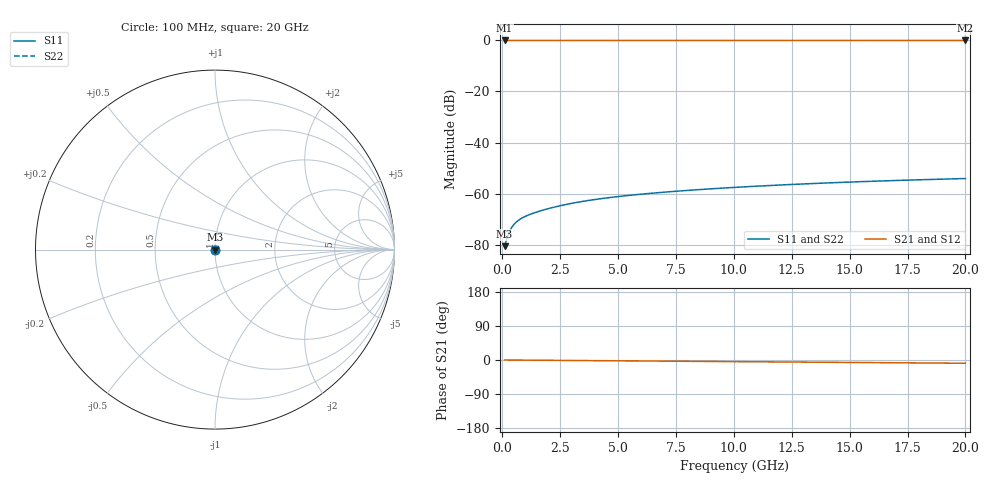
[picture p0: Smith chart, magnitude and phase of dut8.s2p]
! Touchstone file exported from HFSS 2026.1.0
!  File:  C:/ffzhzh/LocalFiles/Ansys_Project_Files/temp_test_TSV_8_1782978125_6388.aedt
!  Generated:  03:43:36 PM Jul  2, 2026
!  Design:  TSV
!  Project:  temp_test_TSV_8_1782978125_6388
! Variables:
!  h_bsmrdl = 2um
!  h_ox = 20um
!  h_rdl = 5um
!  h_sub = 83.91um
!  h_tmrdl = 5um
!  h_tsv = 83.91um
!  h_via = 3um
!  l_bsmrdl = 300um
!  l_sub = 428.38um
!  l_tmrdl = 200um
!  m_sub = 200um
!  pitch = 57.12um
!  r_tsv = 14.19um
!  s_tmrdl = 10um
!  w_bsmrdl = 18um
!  w_sub = 500um
!  w_tmrdl = 12um
!  x_tsv_center1 = 206um
!  x_tsv_center2 = 524um
!  x_tsv_center3 = 736um
!  x_tsv_center4 = 1054um
!  x_tsv_center5 = 1266um
!  x_tsv_center6 = 1584um
# GHz S MA R 50.000000
! Terminal data exported
! Port[1] = TSV1_1_T1
! Port[2] = TSV1_1_T2
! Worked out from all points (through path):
!   200 points, 100 MHz to 20 GHz, reference 50 ohm
!   highest |S21| = 0.00 dB at 100 MHz (marker M1); lowest = 0.0 dB at 20 GHz (marker M2)
!   group delay of S21, straight-line fit = 1.19 ps
!   lowest |S11| = -80.6 dB at 100 MHz (marker M3), VSWR 1.00, Z = 50 + j0.00506 ohm
!   |S11| at or under -10 dB: start of sweep to end of sweep
!   |S22| runs from -80.6 to -54.1 dB; largest |S21 - S12| = 3.2e-15
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0.1  9.329e-05 32.8  0.9999 -0.0  0.9999 -0.0  9.329e-05 32.8
! Gamma 0 0 0 0
! Port Impedance 50 0 50 0
0.2  0.0001342 45.8  0.9999 -0.1  0.9999 -0.1  0.0001342 45.8
0.3  0.0001766 49.6  0.9999 -0.1  0.9999 -0.1  0.0001766 49.6
0.4  0.0002147 50.1  0.9999 -0.2  0.9999 -0.2  0.0002148 50.2
0.5  0.0002475 49.7  0.9998 -0.2  0.9998 -0.2  0.0002476 49.7
0.6  0.0002756 49.1  0.9998 -0.3  0.9998 -0.3  0.0002757 49.1
0.7  0.0002999 48.6  0.9998 -0.3  0.9998 -0.3  0.0002999 48.6
0.9  0.0003407 47.9  0.9998 -0.4  0.9998 -0.4  0.0003407 47.9
1.1  0.0003754 47.9  0.9997 -0.5  0.9997 -0.5  0.0003754 47.9
1.4  0.0004222 48.4  0.9997 -0.6  0.9997 -0.6  0.0004222 48.4
2  0.0005091 49.8  0.9997 -0.9  0.9997 -0.9  0.0005092 49.8
2.7  0.0006051 51.0  0.9996 -1.2  0.9996 -1.2  0.000605 51.0
3.5  0.0007068 51.6  0.9996 -1.5  0.9996 -1.5  0.0007067 51.6
4.2  0.0007886 51.8  0.9995 -1.8  0.9995 -1.8  0.0007885 51.8
5  0.0008748 52.0  0.9995 -2.2  0.9995 -2.2  0.0008748 52.0
5.8  0.000955 52.0  0.9994 -2.5  0.9994 -2.5  0.0009549 52.0
6.8  0.001049 52.1  0.9994 -2.9  0.9994 -2.9  0.001049 52.1
8.3  0.00118 52.1  0.9993 -3.6  0.9993 -3.6  0.00118 52.1
10.1  0.001328 52.1  0.9993 -4.3  0.9993 -4.3  0.001328 52.1
13.4  0.001574 51.6  0.9992 -5.8  0.9992 -5.8  0.001574 51.6
16.7  0.001789 50.8  0.9991 -7.2  0.9991 -7.2  0.001788 50.8
20  0.001971 49.7  0.999 -8.6  0.999 -8.6  0.00197 49.8
